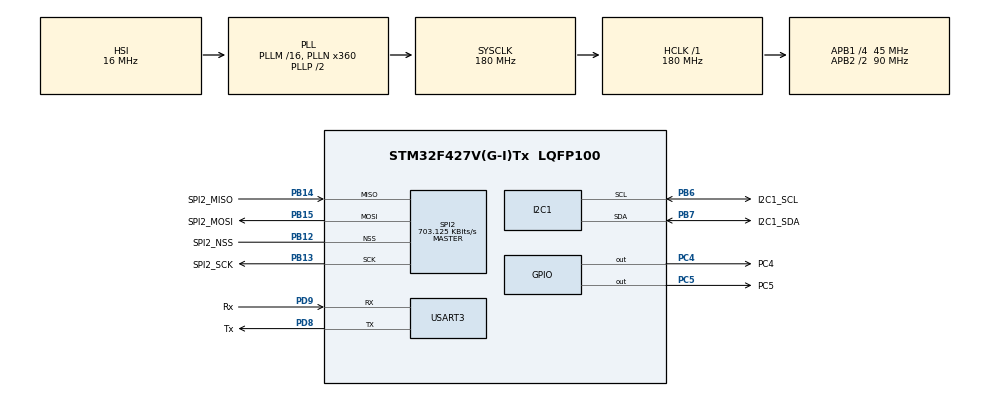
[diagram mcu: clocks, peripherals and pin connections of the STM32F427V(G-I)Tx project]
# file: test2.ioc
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I2C1.GeneralCallMode=I2C_GENERALCALL_ENABLED
I2C1.OwnAddress=0x68
IWDG.Prescaler=IWDG_PRESCALER_32
IWDG.Reload=1000
Mcu.Family=STM32F4
Mcu.Name=STM32F427V(G-I)Tx
Mcu.Package=LQFP100
NVIC.PriorityGroup=NVIC_PRIORITYGROUP_4
PB12.GPIO_Label=SPI2_NSS
PB12.Mode=NSS_Signal_Hard
PB12.Signal=SPI2_NSS
PB13.GPIO_Label=SPI2_SCK
PB13.Mode=Full_Duplex_Master
PB13.Signal=SPI2_SCK
PB14.GPIO_Label=SPI2_MISO
PB14.Mode=Full_Duplex_Master
PB14.Signal=SPI2_MISO
PB15.GPIO_Label=SPI2_MOSI
PB15.Mode=Full_Duplex_Master
PB15.Signal=SPI2_MOSI
PB6.GPIO_Label=I2C1_SCL
PB6.Mode=I2C
PB6.Signal=I2C1_SCL
PB7.GPIO_Label=I2C1_SDA
PB7.Mode=I2C
PB7.Signal=I2C1_SDA
PC4.GPIO_Label=PC4
PC4.GPIO_Speed=GPIO_SPEED_MEDIUM
PC4.Signal=GPIO_Output
PC5.GPIO_Label=PC5
PC5.GPIO_Speed=GPIO_SPEED_MEDIUM
PC5.Signal=GPIO_Output
PD8.GPIO_Label=Tx
PD8.GPIO_Speed=GPIO_SPEED_MEDIUM
PD8.Mode=Asynchronous
PD8.Signal=USART3_TX
PD9.GPIO_Label=Rx
PD9.GPIO_Speed=GPIO_SPEED_MEDIUM
PD9.Mode=Asynchronous
PD9.Signal=USART3_RX
ProjectManager.TargetToolchain=MDK-ARM V5
RCC.48MHZClocksFreq_Value=90000000
RCC.AHBFreq_Value=180000000
RCC.APB1CLKDivider=RCC_HCLK_DIV4
RCC.APB1Freq_Value=45000000
RCC.APB1TimFreq_Value=90000000
RCC.APB2CLKDivider=RCC_HCLK_DIV2
RCC.APB2Freq_Value=90000000
RCC.APB2TimFreq_Value=180000000
RCC.CortexFreq_Value=180000000
RCC.HCLKFreq_Value=180000000
RCC.HSE_VALUE=8000000
RCC.HSI_VALUE=16000000
RCC.LSE_VALUE=32768
RCC.PLLN=360
RCC.SYSCLKFreq_VALUE=180000000
RCC.SYSCLKSource=RCC_SYSCLKSOURCE_PLLCLK
RCC.VCOOutputFreq_Value=360000000
SPI2.BaudRatePrescaler=SPI_BAUDRATEPRESCALER_64
SPI2.CLKPhase=SPI_PHASE_2EDGE
SPI2.CLKPolarity=SPI_POLARITY_HIGH
SPI2.CalculateBaudRate=703.125 KBits/s
SPI2.Mode=SPI_MODE_MASTER
SPI2.VirtualNSS=VM_NSSHARD
VP_IWDG_VS_IWDG.Mode=IWDG_Activate
board=test2

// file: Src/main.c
/**
  ******************************************************************************
  * File Name          : main.c
  * Description        : Main program body
  ******************************************************************************
  *
  * COPYRIGHT(c) 2015 STMicroelectronics
  *
  * Redistribution and use in source and binary forms, with or without modification,
  * are permitted provided that the following conditions are met:
  *   1. Redistributions of source code must retain the above copyright notice,
  *      this list of conditions and the following disclaimer.
  *   2. Redistributions in binary form must reproduce the above copyright notice,
  *      this list of conditions and the following disclaimer in the documentation
  *      and/or other materials provided with the distribution.
  *   3. Neither the name of STMicroelectronics nor the names of its contributors
  *      may be used to endorse or promote products derived from this software
  *      without specific prior written permission.
  *
  * THIS SOFTWARE IS PROVIDED BY THE COPYRIGHT HOLDERS AND CONTRIBUTORS "AS IS"
  * AND ANY EXPRESS OR IMPLIED WARRANTIES, INCLUDING, BUT NOT LIMITED TO, THE
  * IMPLIED WARRANTIES OF MERCHANTABILITY AND FITNESS FOR A PARTICULAR PURPOSE ARE
  * DISCLAIMED. IN NO EVENT SHALL THE COPYRIGHT HOLDER OR CONTRIBUTORS BE LIABLE
  * FOR ANY DIRECT, INDIRECT, INCIDENTAL, SPECIAL, EXEMPLARY, OR CONSEQUENTIAL
  * DAMAGES (INCLUDING, BUT NOT LIMITED TO, PROCUREMENT OF SUBSTITUTE GOODS OR
  * SERVICES; LOSS OF USE, DATA, OR PROFITS; OR BUSINESS INTERRUPTION) HOWEVER
  * CAUSED AND ON ANY THEORY OF LIABILITY, WHETHER IN CONTRACT, STRICT LIABILITY,
  * OR TORT (INCLUDING NEGLIGENCE OR OTHERWISE) ARISING IN ANY WAY OUT OF THE USE
  * OF THIS SOFTWARE, EVEN IF ADVISED OF THE POSSIBILITY OF SUCH DAMAGE.
  *
  ******************************************************************************
  */
#include "stm32f4xx_hal.h"
#include "i2c.h"
#include "spi.h"
#include "usart.h"
#include "gpio.h"

/* USER CODE BEGIN Includes */
#include "mpu6050.h"
#include "bmi160_modif.h"
#include "lis3mdl.h"
#include "mma8451q.h"
#include "tmp101.h"
#include "bmi160_support.h"
#include <string.h>

/* USER CODE END Includes */

/* USER CODE BEGIN PV */
/* Private variables ---------------------------------------------------------*/

/* USER CODE END PV */

void SystemClock_Config(void);

/* USER CODE BEGIN PFP */
/* Private function prototypes -----------------------------------------------*/

/* USER CODE END PFP */

/* USER CODE BEGIN 0 */
char usart_test[256] = "This is a test for usart\r\n";

/* USER CODE END 0 */

int main(void)
{

  /* MCU Configuration----------------------------------------------------------*/

  /* Reset of all peripherals, Initializes the Flash interface and the Systick. */
  HAL_Init();

  /* Configure the system clock */
  SystemClock_Config();

  /* Initialize all configured peripherals */
  MX_GPIO_Init();
  MX_I2C1_Init();
  MX_SPI2_Init();
  MX_USART3_UART_Init();

  /* USER CODE BEGIN 2 */
#if defined (MPU6050)
	 Mpu6050_Init();
//#elif defined (LIS3MDL)
//	 LIS3MDL_Init();
#elif defined (BMI160)
	 //BMI160_Init();/* This function is write by myself to driver the BMI160 to output the data,it worked but to config the command register */
	 bmi160_initialize_sensor();
#elif	defined (MMA8451Q)
	Mma8451q_Init();
#elif defined	(TMP101)
	Tmp101_Init();
#endif

#if defined (LIS3MDL)
	 LIS3MDL_Init();
#endif
  /* USER CODE END 2 */

  /* Infinite loop */
  /* USER CODE BEGIN WHILE */
  while (1)
  {
#if defined (MPU6050)
	 Read_Mpu6050_Data();
//#elif defined (LIS3MDL)
//	 Read_Lis3mdl_Data();
#elif defined (BMI160)
	 //Read_Bmi160_Data();/* The function is use to output the data in double format */
	Read_Bmi160_Driver_Data();/* output the raw data offered by official driver */
#elif	defined	(MMA8451Q)
		Read_Mma8451q_Data();
#elif defined	(TMP101)
		Read_Tmp101_Data();
#endif

#if defined (LIS3MDL)
	 Read_Lis3mdl_Data();
#endif
		//Sensor_Spi_Read_Data();
		//Printf_Spi_Gyro_Data();

  /* USER CODE END WHILE */

  /* USER CODE BEGIN 3 */

		HAL_Delay(500);
		HAL_GPIO_TogglePin(GPIOC,GPIO_PIN_5);

		//HAL_UART_Transmit(&huart3, (uint8_t*)usart_test, strlen(usart_test), 5000);/* test the usart */

  }
  /* USER CODE END 3 */

}

/** System Clock Configuration
*/
void SystemClock_Config(void)
{

  RCC_OscInitTypeDef RCC_OscInitStruct;
  RCC_ClkInitTypeDef RCC_ClkInitStruct;

  __PWR_CLK_ENABLE();

  __HAL_PWR_VOLTAGESCALING_CONFIG(PWR_REGULATOR_VOLTAGE_SCALE1);

  RCC_OscInitStruct.OscillatorType = RCC_OSCILLATORTYPE_HSI;
  RCC_OscInitStruct.HSIState = RCC_HSI_ON;
  RCC_OscInitStruct.HSICalibrationValue = 16;
  RCC_OscInitStruct.PLL.PLLState = RCC_PLL_ON;
  RCC_OscInitStruct.PLL.PLLSource = RCC_PLLSOURCE_HSI;
  RCC_OscInitStruct.PLL.PLLM = 16;
  RCC_OscInitStruct.PLL.PLLN = 360;
  RCC_OscInitStruct.PLL.PLLP = RCC_PLLP_DIV2;
  RCC_OscInitStruct.PLL.PLLQ = 4;
  HAL_RCC_OscConfig(&RCC_OscInitStruct);

  HAL_PWREx_ActivateOverDrive();

  RCC_ClkInitStruct.ClockType = RCC_CLOCKTYPE_SYSCLK|RCC_CLOCKTYPE_PCLK1
                              |RCC_CLOCKTYPE_PCLK2;
  RCC_ClkInitStruct.SYSCLKSource = RCC_SYSCLKSOURCE_PLLCLK;
  RCC_ClkInitStruct.AHBCLKDivider = RCC_SYSCLK_DIV1;
  RCC_ClkInitStruct.APB1CLKDivider = RCC_HCLK_DIV4;
  RCC_ClkInitStruct.APB2CLKDivider = RCC_HCLK_DIV2;
  HAL_RCC_ClockConfig(&RCC_ClkInitStruct, FLASH_LATENCY_5);

  HAL_SYSTICK_Config(HAL_RCC_GetHCLKFreq()/1000);

  HAL_SYSTICK_CLKSourceConfig(SYSTICK_CLKSOURCE_HCLK);

  /* SysTick_IRQn interrupt configuration */
  HAL_NVIC_SetPriority(SysTick_IRQn, 0, 0);
}

/************************ (C) COPYRIGHT STMicroelectronics *****END OF FILE****/
